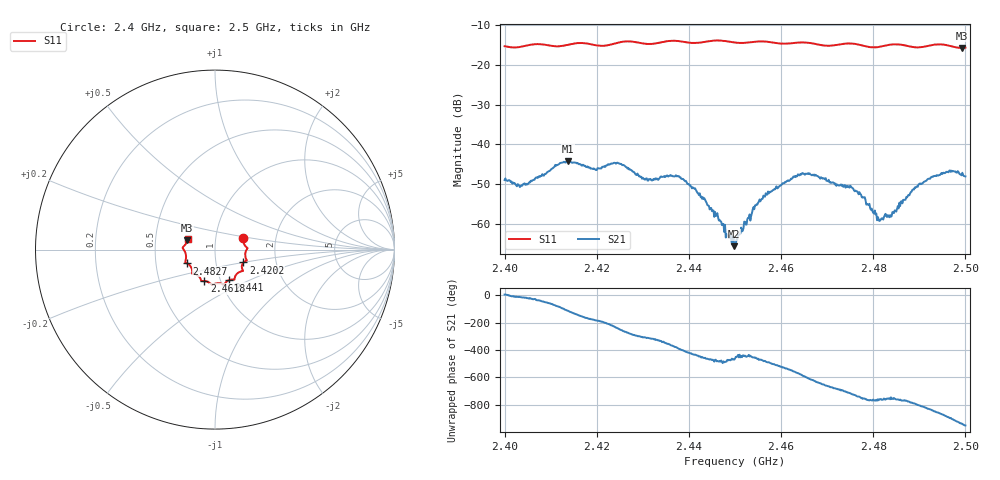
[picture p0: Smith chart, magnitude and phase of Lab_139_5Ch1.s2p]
# Hz S RI R 50
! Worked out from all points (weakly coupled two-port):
!   601 points, 2.4 GHz to 2.5 GHz, reference 50 ohm
!   highest |S21| = -44.23 dB at 2.4137 GHz (marker M1); lowest = -65.6 dB at 2.4498 GHz (marker M2)
!   lowest |S11| = -15.8 dB at 2.4993 GHz (marker M3), VSWR 1.39, Z = 36.5 + j3.81 ohm
!   |S11| at or under -10 dB: start of sweep to end of sweep
!   S12 and S22 are empty: the file has one direction only
!   S11 on the Smith chart (normalised r, x): 2.4 GHz: 1.36, +0.18; 2.4202 GHz: 1.36, -0.20; 2.441 GHz: 1.10, -0.39; 2.4618 GHz: 0.84, -0.30; 2.4827 GHz: 0.72, -0.11; 2.5 GHz: 0.73, +0.09
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2.4e9  0.1587 0.0628  0.00356 0.000207  0 0  0 0
2.405e9  0.1746 0.0143  0.0029 -0.00119  0 0  0 0
2.413667e9  0.1712 -0.0461  -0.00249 -0.00562  0 0  0 0
2.416667e9  0.1772 -0.061  -0.00492 -0.00231  0 0  0 0
2.420167e9  0.1588 -0.0714  -0.00499 0.000572  0 0  0 0
2.424833e9  0.1536 -0.1126  -0.00226 0.00527  0 0  0 0
2.43e9  0.1367 -0.1247  0.00238 0.00297  0 0  0 0
2.433333e9  0.1117 -0.1508  0.0031 0.00177  0 0  0 0
2.437667e9  0.1055 -0.1678  0.00347 -0.00191  0 0  0 0
2.441e9  0.0788 -0.1697  0.000803 -0.00271  0 0  0 0
2.449833e9  0.0304 -0.1877  -0.000183 -0.000493  0 0  0 0
2.45e9  0.0288 -0.1876  -0.000123 -0.000539  0 0  0 0
2.454833e9  -0.0116 -0.1949  -0.000435 -0.00169  0 0  0 0
2.461833e9  -0.059 -0.1753  -0.00351 0.000169  0 0  0 0
2.466667e9  -0.0786 -0.1684  -0.000885 0.00399  0 0  0 0
2.475167e9  -0.1278 -0.1333  0.00295 8.41e-05  0 0  0 0
2.481333e9  -0.145 -0.0837  0.000845 -0.000684  0 0  0 0
2.482667e9  -0.1558 -0.077  0.00101 -0.000885  0 0  0 0
2.483333e9  -0.1604 -0.075  0.00106 -0.000671  0 0  0 0
2.492333e9  -0.1748 0.000626  -0.00141 -0.00341  0 0  0 0
2.499333e9  -0.1543 0.0508  -0.00349 0.00266  0 0  0 0
2.5e9  -0.1522 0.0605  -0.00257 0.00301  0 0  0 0
